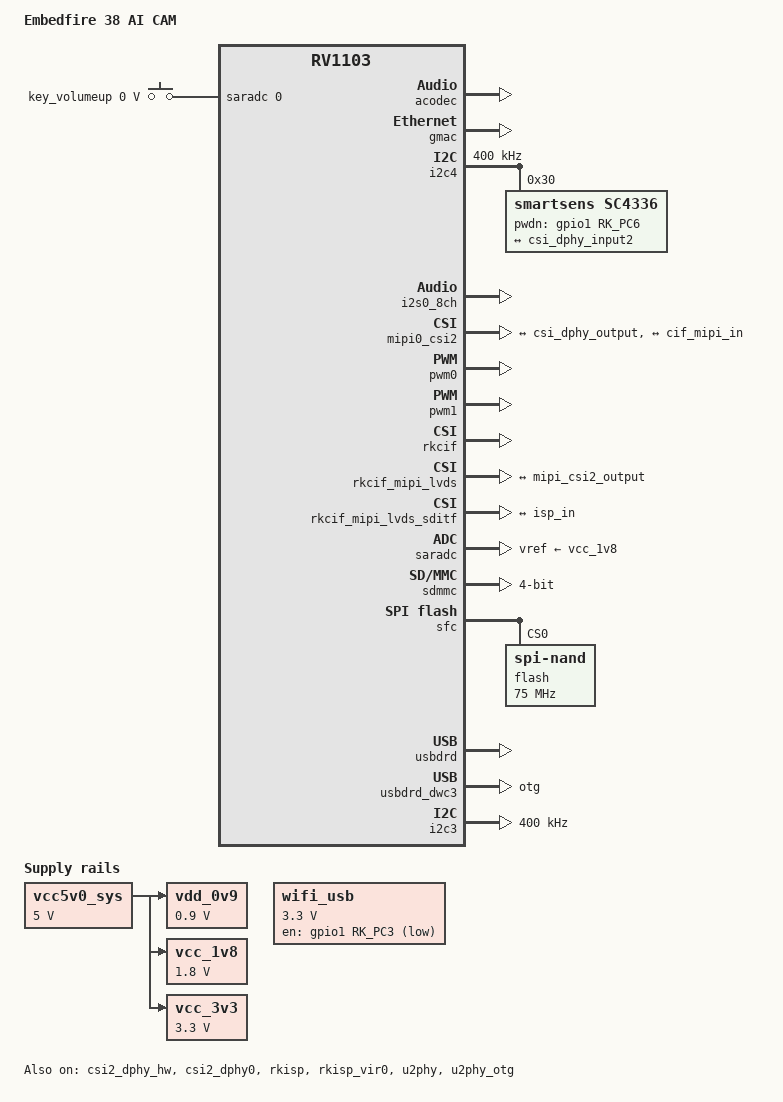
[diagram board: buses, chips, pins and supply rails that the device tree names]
// SPDX-License-Identifier: (GPL-2.0+ OR MIT)
/*
 * Copyright (c) 2022 Rockchip Electronics Co., Ltd.
 */

/dts-v1/;

#include "rv1103.dtsi"
#include "rv1106-evb.dtsi"

/ {
	model = "Embedfire 38 AI CAM";
	compatible = "embedfire,rv1103-ai-cam", "rockchip,rv1103";

	chosen {
		bootargs = "earlycon=uart8250,mmio32,0xff4c0000 console=ttyFIQ0 root=/dev/mmcblk1p5 rootwait snd_soc_core.prealloc_buffer_size_kbytes=16 coherent_pool=0";
	};

	acodec_sound: acodec-sound {
		compatible = "simple-audio-card";
		simple-audio-card,name = "rv-acodec";
		simple-audio-card,format = "i2s";
		simple-audio-card,mclk-fs = <256>;
		simple-audio-card,cpu {
			sound-dai = <&i2s0_8ch>;
		};
		simple-audio-card,codec {
			sound-dai = <&acodec>;
		};
	};

	vcc5v0_sys: vcc5v0-sys {
		compatible = "regulator-fixed";
		regulator-name = "vcc5v0_sys";
		regulator-always-on;
		regulator-boot-on;
		regulator-min-microvolt = <5000000>;
		regulator-max-microvolt = <5000000>;
	};

	vdd_0v9: vdd-0v9 {
		compatible = "regulator-fixed";
		regulator-name = "vdd_0v9";
		regulator-always-on;
		regulator-boot-on;
		regulator-min-microvolt = <900000>;
		regulator-max-microvolt = <900000>;
		vin-supply = <&vcc5v0_sys>;
	};

	vcc_1v8: vcc-1v8 {
		compatible = "regulator-fixed";
		regulator-name = "vcc_1v8";
		regulator-always-on;
		regulator-boot-on;
		regulator-min-microvolt = <1800000>;
		regulator-max-microvolt = <1800000>;
		vin-supply = <&vcc5v0_sys>;
	};

	vcc_3v3: vcc-3v3 {
		compatible = "regulator-fixed";
		regulator-name = "vcc_3v3";
		regulator-always-on;
		regulator-boot-on;
		regulator-min-microvolt = <3300000>;
		regulator-max-microvolt = <3300000>;
		vin-supply = <&vcc5v0_sys>;
	};

	wifi_usb: wifi-usb {
		compatible = "regulator-fixed";
		regulator-name = "wifi_usb";
		regulator-always-on;
		enable-active-low;
		regulator-min-microvolt = <3300000>;
		regulator-max-microvolt = <3300000>;	
		gpio = <&gpio1 RK_PC3 GPIO_ACTIVE_LOW>;
	};

	wireless_wlan: wireless-wlan {
		compatible = "wlan-platdata";
		wifi_chip_type = "AIC8800DC";
		status = "okay";
	};

	adc-keys {
		compatible = "adc-keys";
		io-channels = <&saradc 0>;
		io-channel-names = "buttons";
		poll-interval = <100>;
		keyup-threshold-microvolt = <1800000>;

		key_volumeup-key {
			label = "key_volumeup";
			linux,code = <KEY_VOLUMEUP>;
			press-threshold-microvolt = <0>;
		};
	};

};

&acodec {
	#sound-dai-cells = <0>;
	status = "okay";
};

&cpu0 {
	cpu-supply = <&vdd_0v9>;
};

&csi2_dphy_hw {
	status = "okay";
};

&csi2_dphy0 {
	status = "okay";

	ports {
		#address-cells = <1>;
		#size-cells = <0>;

		port@0 {
			reg = <0>;
			#address-cells = <1>;
			#size-cells = <0>;

			csi_dphy_input2: endpoint@2 {
				reg = <2>;
				remote-endpoint = <&sc4336_out>;
				data-lanes = <1 2>;
			};

			// csi_dphy_input3: endpoint@3 {
			// 	reg = <3>;
			// 	remote-endpoint = <&sc235hai_out>;
			// 	data-lanes = <1 2>;
			// };
			
		};

		port@1 {
			reg = <1>;
			#address-cells = <1>;
			#size-cells = <0>;

			csi_dphy_output: endpoint@0 {
				reg = <0>;
				remote-endpoint = <&mipi_csi2_input>;
			};
		};
	};
};

&gmac {
	status = "okay";
};

&i2c4 {
	status = "okay";
	clock-frequency = <400000>;
	pinctrl-names = "default";
	pinctrl-0 = <&i2c4m2_xfer>;

	sc4336: sc4336@30 {
		compatible = "smartsens,sc4336";
		status = "okay";
		reg = <0x30>;
		clocks = <&cru MCLK_REF_MIPI0>;
		clock-names = "xvclk";
		pwdn-gpios = <&gpio1 RK_PC6 GPIO_ACTIVE_HIGH>;
		// reset-gpios = <&gpio3 RK_PC5 GPIO_ACTIVE_HIGH>;
		pinctrl-names = "default";
		pinctrl-0 = <&mipi_refclk_out0>;
		rockchip,camera-module-index = <0>;
		rockchip,camera-module-facing = "back";
		rockchip,camera-module-name = "OT01";
		rockchip,camera-module-lens-name = "40IRC_F16";
		port {
			sc4336_out: endpoint {
				remote-endpoint = <&csi_dphy_input2>;
				data-lanes = <1 2>;
			};
		};
	};

	// sc235hai: sc235hai@30 {
	// 	compatible = "smartsens,sc235hai";
	// 	status = "okay";
	// 	reg = <0x30>;
	// 	clocks = <&cru MCLK_REF_MIPI0>;
	// 	clock-names = "xvclk";
	// 	pwdn-gpios = <&gpio1 RK_PD2 GPIO_ACTIVE_HIGH>;
	// 	reset-gpios = <&gpio3 RK_PC5 GPIO_ACTIVE_HIGH>;
	// 	pinctrl-names = "rockchip,camera_default";
	// 	pinctrl-0 = <&mipi_refclk_out0>;
	// 	rockchip,camera-module-index = <0>;
	// 	rockchip,camera-module-facing = "back";
	// 	rockchip,camera-module-name = "CMK-OT2115-PC1";
	// 	rockchip,camera-module-lens-name = "30IRC-F16";
	// 	port {
	// 		sc235hai_out: endpoint {
	// 			remote-endpoint = <&csi_dphy_input3>;
	// 			data-lanes = <1 2>;
	// 		};
	// 	};
	// };
};

&i2s0_8ch {
	#sound-dai-cells = <0>;
	status = "okay";
};

&mipi0_csi2 {
	status = "okay";

	ports {
		#address-cells = <1>;
		#size-cells = <0>;

		port@0 {
			reg = <0>;
			#address-cells = <1>;
			#size-cells = <0>;

			mipi_csi2_input: endpoint@1 {
				reg = <1>;
				remote-endpoint = <&csi_dphy_output>;
			};
		};

		port@1 {
			reg = <1>;
			#address-cells = <1>;
			#size-cells = <0>;

			mipi_csi2_output: endpoint@0 {
				reg = <0>;
				remote-endpoint = <&cif_mipi_in>;
			};
		};
	};
};

// PWM_INF
&pwm0 {
	status = "okay";
};

// PWM_WHITE
&pwm1 {
	status = "okay";
};

&rkcif {
	status = "okay";
};

&rkcif_mipi_lvds {
	status = "okay";

	pinctrl-names = "default";
	pinctrl-0 = <&mipi_pins>;
	port {
		/* MIPI CSI-2 endpoint */
		cif_mipi_in: endpoint {
			remote-endpoint = <&mipi_csi2_output>;
		};
	};
};

&rkcif_mipi_lvds_sditf {
	status = "okay";

	port {
		/* MIPI CSI-2 endpoint */
		mipi_lvds_sditf: endpoint {
			remote-endpoint = <&isp_in>;
		};
	};
};

&rkisp {
	status = "okay";
};

&rkisp_vir0 {
	status = "okay";

	port@0 {
		isp_in: endpoint {
			remote-endpoint = <&mipi_lvds_sditf>;
		};
	};
};

&saradc {
	status = "okay";
	vref-supply = <&vcc_1v8>;
};

&sdmmc {
    max-frequency = <50000000>;
    no-sdio;
    no-mmc;
    bus-width = <4>;
    cap-mmc-highspeed;
    cap-sd-highspeed;
    disable-wp;
    pinctrl-names = "default";
    pinctrl-0 = <&sdmmc0_clk &sdmmc0_cmd &sdmmc0_det &sdmmc0_bus4>;
    status = "okay";
};

&sfc {
	status = "okay";

	flash@0 {
		compatible = "spi-nand";
		reg = <0>;
		spi-max-frequency = <75000000>;
		spi-rx-bus-width = <4>;
		spi-tx-bus-width = <1>;
	};
};

&u2phy {
	status = "okay";
};

&u2phy_otg {
	status = "okay";
};

&usbdrd {
	status = "okay";
};

&usbdrd_dwc3 {
	extcon = <&u2phy>;
	dr_mode = "otg";
	status = "okay";
};

&i2c3 {
	status = "okay";
	clock-frequency = <400000>;
	pinctrl-names = "default";
	pinctrl-0 = <&i2c3m1_xfer>;
};
